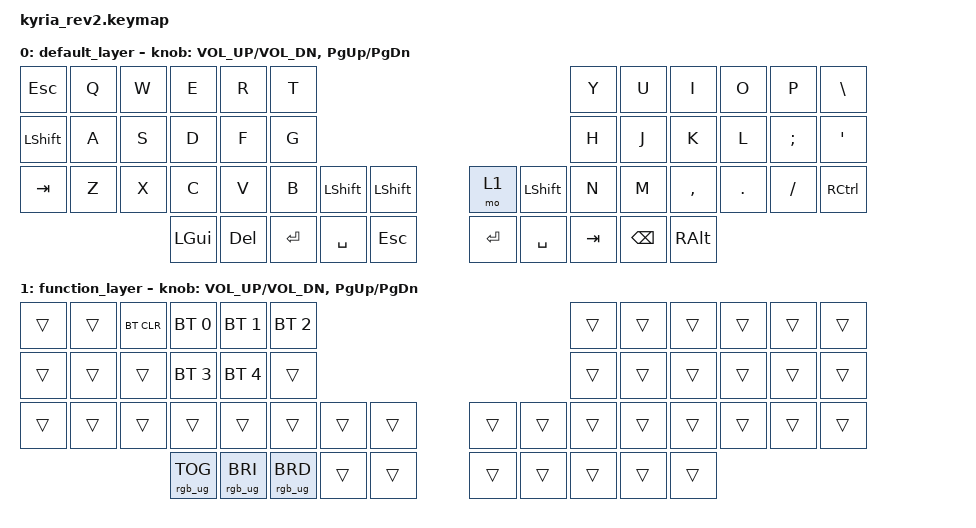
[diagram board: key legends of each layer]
/*
 * Copyright (c) 2020 The ZMK Contributors
 *
 * SPDX-License-Identifier: MIT
 */

#include <behaviors.dtsi>
#include <dt-bindings/zmk/bt.h>
#include <dt-bindings/zmk/keys.h>
#include <dt-bindings/zmk/rgb.h>

/ {
    keymap {
        compatible = "zmk,keymap";

        default_layer {
// ---------------------------------------------------------------------------------------------------------------------------------
// |  ESC  |  Q  |  W  |  E   |  R   |  T   |                                          |  Y   |  U    |  I    |  O   |   P   |   \  |
// | SHIFT |  A  |  S  |  D   |  F   |  G   |                                          |  H   |  J    |  K    |  L   |   ;   |   '  |
// |  TAB  |  Z  |  X  |  C   |  V   |  B   | L SHIFT | L SHIFT |  | LAYER 1 | L SHIFT |  N   |  M    |  ,    |  .   |   /   | CTRL |
//                     | GUI  | DEL  | RET  |  SPACE  |   ESC   |  |   RET   |  SPACE  | TAB  | BSPC  | R-ALT |
            bindings = <
    &kp ESC   &kp Q &kp W &kp E &kp R &kp T                                                &kp Y &kp U  &kp I     &kp O   &kp P    &kp BSLH
    &kp LSHFT   &kp A &kp S &kp D &kp F &kp G                                                &kp H &kp J  &kp K     &kp L   &kp SEMI &kp SQT
    &kp TAB &kp Z &kp X &kp C &kp V &kp B &kp LSHFT &kp LSHFT        &mo 1    &kp LSHFT  &kp N &kp M  &kp COMMA &kp DOT &kp FSLH &kp RCTRL
                     &kp LGUI &kp DEL &kp RET &kp SPACE &kp ESC        &kp RET  &kp SPACE  &kp TAB &kp BSPC &kp RALT
            >;

            sensor-bindings = <&inc_dec_kp C_VOL_UP C_VOL_DN &inc_dec_kp PG_UP PG_DN>;
        };
        function_layer {
// ---------------------------------------------------------------------------------------------------------------------------------
// |       |      |BT_CLR|BTSEL0|BTSEL1|BTSEL2|                                         |      |      |      |      |      |      |
// |       |      |      |BTSEL3|BTSEL4|      |                                         |      |      |      |      |      |      |
// |       |      |      |      |      |      |      |      |      |      |      |      |      |      |      |      |      |      |
//                       |RBGTOG|RGBBRI|RGBBRD|      |      |      |      |      |      |      |      |      |
            bindings = <
    &trans &trans &bt BT_CLR &bt BT_SEL 0 &bt BT_SEL 1 &bt BT_SEL 2              &trans &trans &trans &trans &trans &trans
    &trans &trans &trans     &bt BT_SEL 3 &bt BT_SEL 4 &trans                    &trans &trans &trans &trans &trans &trans
    &trans &trans &trans &trans &trans &trans &trans &trans        &trans &trans &trans &trans &trans &trans &trans &trans
                         &rgb_ug RGB_TOG &rgb_ug RGB_BRI &rgb_ug RGB_BRD &trans &trans        &trans &trans &trans &trans &trans
            >;

            sensor-bindings = <&inc_dec_kp C_VOL_UP C_VOL_DN &inc_dec_kp PG_UP PG_DN>;
        };
    };
};

&led_strip {
    chain-length = <10>;
};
